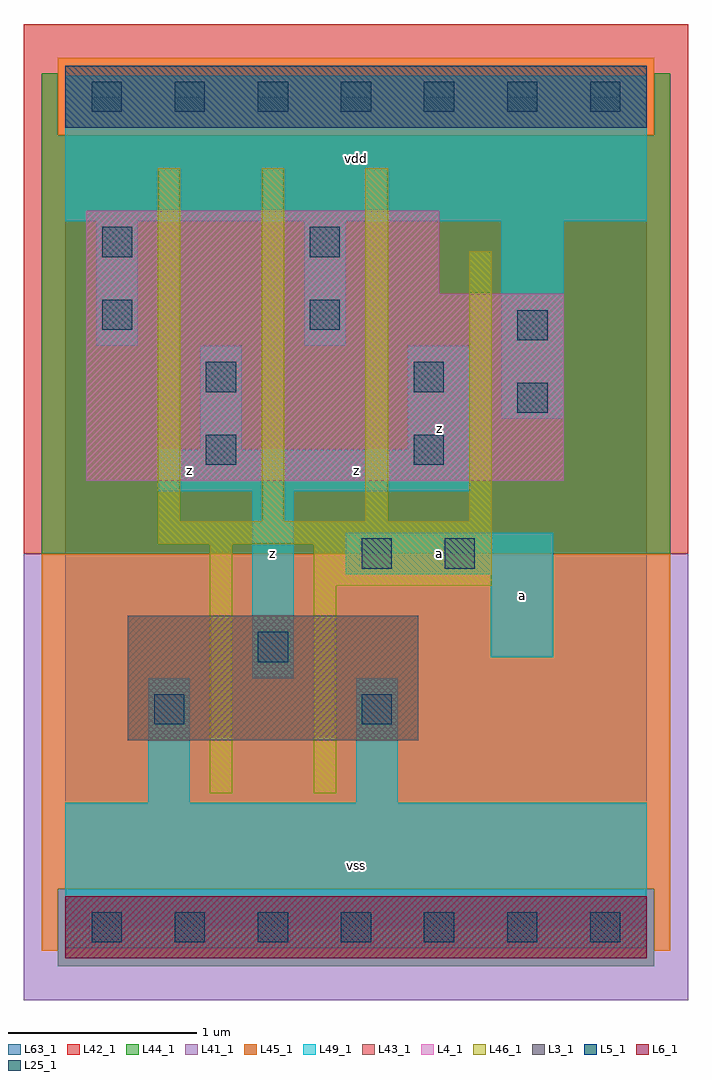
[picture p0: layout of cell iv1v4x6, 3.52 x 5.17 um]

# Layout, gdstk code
import gdstk
lib = gdstk.Library(unit=1e-6, precision=1e-09)
def R(c, l, rs):  # rectangles x0, y0, x1, y1
    for r in rs: c.add(gdstk.rectangle(r[:2], r[2:], *l))
def A(c, l, x, y, w, h, nx, ny, dx, dy):  # array of equal rectangles
    R(c, l, [(x+i*dx, y+j*dy, x+i*dx+w, y+j*dy+h) for i in range(nx) for j in range(ny)])
L3_1 = (3, 1)
L4_1 = (4, 1)
L5_1 = (5, 1)
L6_1 = (6, 1)
L25_1 = (25, 1)
L41_1 = (41, 1)
L42_1 = (42, 1)
L43_1 = (43, 1)
L44_1 = (44, 1)
L45_1 = (45, 1)
L46_1 = (46, 1)
L49_1 = (49, 1)
L63_1 = (63, 1)

iv1v4x6 = lib.new_cell('iv1v4x6')
R(iv1v4x6, L3_1, [(0.33,0.99,1.87,1.65)])
R(iv1v4x6, L4_1, [(0.11,2.365,2.64,3.355), (0.11,3.355,1.98,3.795)])
R(iv1v4x6, L5_1, [(0,4.235,3.08,4.565)])
R(iv1v4x6, L6_1, [(0,-0.165,3.08,0.165)])
A(iv1v4x6, L25_1, 0.14, -0.08, 0.16, 0.16, 7, 2, 0.44, 4.4)
R(iv1v4x6, L25_1, [(0.47,1.075,0.63,1.235), (1.57,1.075,1.73,1.235), (1.02,1.405,1.18,1.565), (1.57,1.9,1.73,2.06), (2.01,1.9,2.17,2.06), (0.745,2.45,0.905,2.61), (1.845,2.45,2.005,2.61), (2.395,2.725,2.555,2.885), (0.745,2.835,0.905,2.995), (1.845,2.835,2.005,2.995), (2.395,3.11,2.555,3.27), (0.195,3.165,0.355,3.325), (1.295,3.165,1.455,3.325), (0.195,3.55,0.355,3.71), (1.295,3.55,1.455,3.71)])
R(iv1v4x6, L41_1, [(-0.22,-0.385,3.3,1.98)])
R(iv1v4x6, L42_1, [(-0.22,1.98,3.3,4.785)])
R(iv1v4x6, L43_1, [(0,-0.165,3.08,0.165), (0.33,0.99,1.87,1.65), (0.11,2.365,2.64,3.355), (0.11,3.355,1.98,3.795), (0,4.235,3.08,4.565)])
R(iv1v4x6, L44_1, [(-0.04,-0.205,3.12,0.205), (-0.125,1.98,3.205,4.195), (-0.125,4.195,-0.04,4.525), (3.12,4.195,3.205,4.525)])
R(iv1v4x6, L45_1, [(-0.125,-0.125,-0.04,0.205), (3.12,-0.125,3.205,0.205), (-0.125,0.205,3.205,1.98), (-0.04,4.195,3.12,4.605)])
A(iv1v4x6, L46_1, 0.49, 2.15, 0.12, 1.87, 3, 1, 0.55, 0)
R(iv1v4x6, L46_1, [(0.765,0.71,0.885,2.03), (1.315,0.71,1.435,1.81), (1.315,1.81,2.26,2.03), (0.49,2.03,2.26,2.15), (2.14,2.15,2.26,3.58)])
R(iv1v4x6, L49_1, [(0,-0.11,3.08,0.66), (0.44,0.66,0.66,1.32), (1.54,0.66,1.76,1.32), (0.99,1.32,1.21,2.31), (2.255,1.43,2.585,1.87), (1.485,1.87,2.585,2.09), (0.495,2.31,2.145,2.53), (0.715,2.53,0.935,3.08), (1.815,2.53,2.145,3.08), (2.31,2.695,2.64,3.74), (0.165,3.08,0.385,3.74), (1.265,3.08,1.485,3.74), (0,3.74,3.08,4.51)])
R(iv1v4x6, L63_1, [(0,0,3.08,4.4)])
iv1v4x6.add(gdstk.Label('z', (1.1,1.98), layer=49, texttype=1))
iv1v4x6.add(gdstk.Label('z', (0.66,2.42), layer=49, texttype=1))
iv1v4x6.add(gdstk.Label('vss', (1.54,0.33), layer=49, texttype=1))
iv1v4x6.add(gdstk.Label('a', (1.98,1.98), layer=49, texttype=1))
iv1v4x6.add(gdstk.Label('z', (1.54,2.42), layer=49, texttype=1))
iv1v4x6.add(gdstk.Label('z', (1.98,2.64), layer=49, texttype=1))
iv1v4x6.add(gdstk.Label('vdd', (1.54,4.07), layer=49, texttype=1))
iv1v4x6.add(gdstk.Label('a', (2.42,1.76), layer=49, texttype=1))

lib.write_gds('iv1v4x6.gds')
